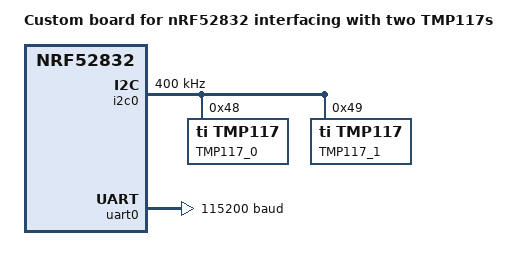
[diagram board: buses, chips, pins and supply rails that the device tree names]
/dts-v1/;
#include <nordic/nrf52832_qfaa.dtsi>
#include "akg_nrf52832-pinctrl.dtsi"

/ {
	model = "Custom board for nRF52832 interfacing with two TMP117s";
	compatible = "akhil,akg-nrf52832";

	chosen {
		zephyr,sram = &sram0;
		zephyr,flash = &flash0;
		zephyr,code-partition = &slot0_partition;
		zephyr,console = &uart0;
		zephyr,shell-uart = &uart0;
		zephyr,uart-mcumgr = &uart0;
	};
};

&flash0 {
	partitions {
		compatible = "fixed-partitions";
		#address-cells = <1>;
		#size-cells = <1>;

		boot_partition: partition@0 {
			label = "mcuboot";
			reg = <0x00000000 DT_SIZE_K(48)>;
		};

		slot0_partition: partition@c000 {
			label = "image-0";
			reg = <0x0000c000 DT_SIZE_K(220)>;
		};

		slot1_partition: partition@43000 {
			label = "image-1";
			reg = <0x00043000 DT_SIZE_K(220)>;
		};

		storage_partition: partition@7a000 {
			label = "storage";
			reg = <0x0007a000 DT_SIZE_K(24)>;
		};
	};
};

&i2c0 {
	status = "okay";
	pinctrl-0 = <&i2c0_default>;
	pinctrl-1 = <&i2c0_sleep>;
	pinctrl-names = "default", "sleep";
	clock-frequency= <400000>;

	tmp117_0: tmp117@48 {
		compatible = "ti,tmp117";
		reg = <0x48>;
		label = "TMP117_0";
	};
	tmp117_1: tmp117@49 {
		compatible = "ti,tmp117";
		reg = <0x49>;
		label = "TMP117_1";	
	};
};

&uart0 {
	compatible = "nordic,nrf-uarte";
	status = "okay";
	current-speed = <115200>;
	pinctrl-0 = <&uart0_default>;
	pinctrl-1 = <&uart0_sleep>;
	pinctrl-names = "default", "sleep";
};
